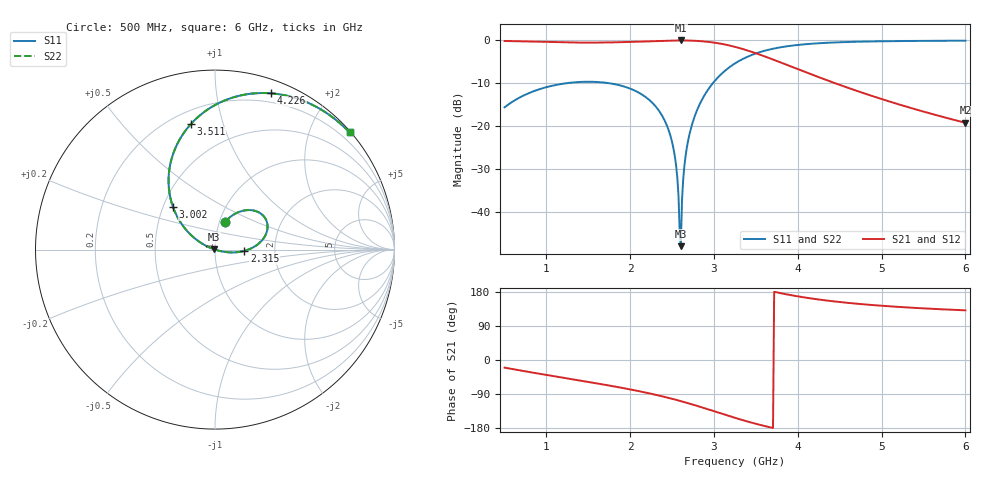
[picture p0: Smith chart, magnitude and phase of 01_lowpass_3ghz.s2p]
! 01_lowpass_3ghz
! 由 Base_AWR 中文版 · OpenRF Studio 生成（干净室实现）
# Hz S MA R 50
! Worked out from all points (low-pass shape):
!   401 points, 500 MHz to 6 GHz, reference 50 ohm
!   highest |S21| = 0.00 dB at 2.604 GHz (marker M1); lowest = -19.2 dB at 6 GHz (marker M2)
!   |S21| within 3 dB of the highest: start of sweep to 3.501 GHz
!   lowest |S11| = -48.0 dB at 2.604 GHz (marker M3), VSWR 1.01, Z = 49.6 + j0.126 ohm
!   |S11| at or under -10 dB: start of sweep to 1.23 GHz; 1.755 GHz to 2.985 GHz (1.23 GHz wide, 51.9 % of centre)
!   |S22| runs from -48.0 to -0.1 dB; largest |S21 - S12| = 0
!   S11 on the Smith chart (normalised r, x): 500 MHz: 1.07, +0.34; 2.315 GHz: 1.39, -0.02; 3.002 GHz: 0.56, +0.30; 3.511 GHz: 0.28, +0.79; 4.226 GHz: 0.12, +1.41; 6 GHz: 0.02, +2.67
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5e8  0.1659 69.8  0.9861 -20.2  0.9861 -20.2  0.1659 69.8
9.125e8  0.2691 53.8  0.9631 -36.2  0.9631 -36.2  0.2691 53.8
1.42125e9  0.3286 35.0  0.9445 -55.0  0.9445 -55.0  0.3286 35.0
1.9575e9  0.2835 14.1  0.959 -75.9  0.959 -75.9  0.2835 14.1
2.315e9  0.1644 -2.4  0.9864 -92.4  0.9864 -92.4  0.1644 -2.4
2.3425e9  0.1513 -3.8  0.9885 -93.8  0.9885 -93.8  0.1513 -3.8
2.43875e9  0.1008 -9.0  0.9949 -99.0  0.9949 -99.0  0.1008 -9.0
2.5075e9  0.0599 -12.9  0.9982 -102.9  0.9982 -102.9  0.0599 -12.9
2.54875e9  0.03347 -15.3  0.9994 -105.3  0.9994 -105.3  0.03347 -15.3
2.57625e9  0.01506 -16.9  0.9999 -106.9  0.9999 -106.9  0.01506 -16.9
2.60375e9  0.003977 161.4  1 -108.6  1 -108.6  0.003977 161.4
2.6175e9  0.01372 160.6  0.9999 -109.4  0.9999 -109.4  0.01372 160.6
2.65875e9  0.04384 158.0  0.999 -112.0  0.999 -112.0  0.04384 158.0
2.7275e9  0.09683 153.6  0.9953 -116.4  0.9953 -116.4  0.09683 153.6
2.8375e9  0.1877 146.2  0.9822 -123.8  0.9822 -123.8  0.1877 146.2
3.0025e9  0.332 134.7  0.9433 -135.3  0.9433 -135.3  0.332 134.7
3.25e9  0.5398 117.4  0.8418 -152.6  0.8418 -152.6  0.5398 117.4
3.51125e9  0.7119 100.9  0.7023 -169.1  0.7023 -169.1  0.7119 100.9
4.17125e9  0.917 72.0  0.3989 162.0  0.3989 162.0  0.917 72.0
4.22625e9  0.9248 70.3  0.3805 160.3  0.3805 160.3  0.9248 70.3
5.0925e9  0.981 51.7  0.194 141.7  0.194 141.7  0.981 51.7
6e9  0.994 41.1  0.1094 131.1  0.1094 131.1  0.994 41.1
